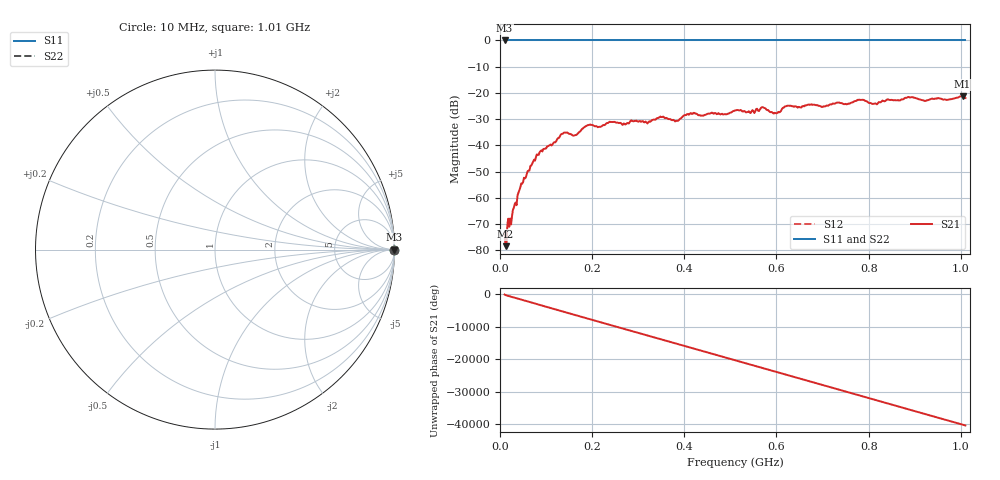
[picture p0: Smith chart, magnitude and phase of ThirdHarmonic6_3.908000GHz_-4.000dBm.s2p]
! 8/17/2025 1:45:39 PM
! C:\ANRITSUVNA\TEMP\TEMP.S2P
! CHANNEL.1
! TR.MEASUREMENT
! RAW.DATA
! RF.CORRECTION.OFF
! AVERAGING.OFF
! IF.BANDWIDTH: 5KHZ
! SWEEPTYPE:  FREQ.SWEEP(Linear)
! Reference Plane Port Info
! PORT:  PORT1  PORT2
! DISTANCE:  0  m  0  m
! TIME:  0  s  0  s
! PHASE.OFFSET:  0  deg.  0  deg.
! LOSS:  0  dB  0  dB
! REF.LOSS:  0  dB  0  dB
! REF.FREQ:  0  Hz  0  Hz
! Power Info
! POWER:  -20  dBm  -20  dBm
! EFF.POWER:  -20  dBm  -20  dBm
! SOURCE.ATTEN:  0  dB  0  dB
! TEST.ATTEN:  0  dB  0  dB
# GHZ S RI R 50.0
! FREQ.GHZ  S11RE  S11IM  S21RE  S21IM  S12RE  S12IM  S22RE  S22IM
!; PortSelection: Port_12
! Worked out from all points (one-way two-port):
!   501 points, 10 MHz to 1.01 GHz, reference 50 ohm
!   highest |S21| = -21.32 dB at 1.004 GHz (marker M1); lowest = -78.4 dB at 12 MHz (marker M2)
!   lowest |S11| = 0.0 dB at 10 MHz (marker M3)
!   |S11| at or under -10 dB: nowhere
!   |S22| runs from 0.0 to 0.0 dB; largest |S21 - S12| = 1.1
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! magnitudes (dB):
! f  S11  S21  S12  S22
! 10 MHz  0.0  -73.3  0.0  0.0
! 12 MHz  0.0  -78.4  0.0  0.0
! 44 MHz  0.0  -56.1  0.0  0.0
! 82 MHz  0.0  -43.6  0.0  0.0
! 136 MHz  0.0  -35.6  0.0  0.0
! 162 MHz  0.0  -36.2  0.0  0.0
! 178 MHz  0.0  -33.8  0.0  0.0
! 194 MHz  0.0  -32.1  0.0  0.0
! 322 MHz  0.0  -31.2  0.0  0.0
! 344 MHz  0.0  -29.5  0.0  0.0
! 384 MHz  0.0  -30.6  0.0  0.0
! 410 MHz  0.0  -28.3  0.0  0.0
! 510 MHz  0.0  -26.7  0.0  0.0
! 572 MHz  0.0  -25.6  0.0  0.0
! 598 MHz  0.0  -27.7  0.0  0.0
! 622 MHz  0.0  -25.0  0.0  0.0
! 678 MHz  0.0  -24.5  0.0  0.0
! 780 MHz  0.0  -22.6  0.0  0.0
! 814 MHz  0.0  -24.0  0.0  0.0
! 844 MHz  0.0  -22.6  0.0  0.0
! 1.004 GHz  0.0  -21.3  0.0  0.0
! 1.01 GHz  0.0  -22.0  0.0  0.0
